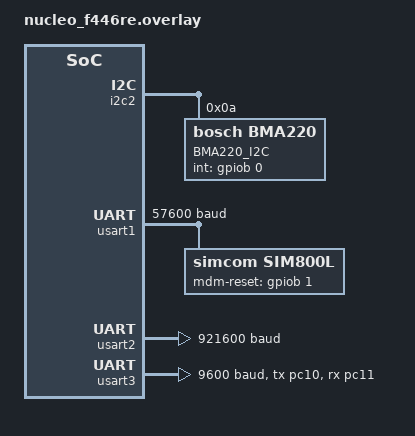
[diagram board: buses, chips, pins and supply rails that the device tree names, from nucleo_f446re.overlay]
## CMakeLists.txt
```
# SPDX-License-Identifier: Apache-2.0

list(APPEND ZEPHYR_EXTRA_MODULES
  ${CMAKE_CURRENT_SOURCE_DIR}/bma220
  ${CMAKE_CURRENT_SOURCE_DIR}/sim800l
  )

set(EXTRA_MODULES_PATHS ${ZEPHYR_EXTRA_MODULES})
list(TRANSFORM EXTRA_MODULES_PATHS APPEND "/zephyr")
list(APPEND DTS_ROOT ${EXTRA_MODULES_PATHS})

cmake_minimum_required(VERSION 3.20.0)

find_package(Zephyr REQUIRED HINTS $ENV{ZEPHYR_BASE})
project(motorcycle_alarm)

target_sources(app PRIVATE
               src/main.c
               src/motorcycle_alarm.c)
```

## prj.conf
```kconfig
CONFIG_I2C=y
CONFIG_SENSOR=y
CONFIG_BMA220=y
CONFIG_BMA220_RANGE_2G=y
CONFIG_MODEM=y
CONFIG_MODEM_SIM800L=y

CONFIG_CBPRINTF_FP_SUPPORT=y
CONFIG_LOG=y
CONFIG_LOG_DEFAULT_LEVEL=4
CONFIG_LOG_STRDUP_BUF_COUNT=32
CONFIG_LOG_STRDUP_MAX_STRING=128
CONFIG_LOG_BUFFER_SIZE=4096
CONFIG_SENSOR_LOG_LEVEL_DBG=y
CONFIG_MODEM_LOG_LEVEL_DBG=y
CONFIG_I2C_LOG_LEVEL_DBG=y
CONFIG_LOG_MAX_LEVEL=4
CONFIG_DEBUG=y
```

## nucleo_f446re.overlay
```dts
/* SPDX-License-Identifier: Apache-2.0 */

&i2c2 {
	bma220@a {
		compatible = "bosch,bma220";
		reg = <0xa>;
		label = "BMA220_I2C";
		int-gpios = <&gpiob 0 0>;
	};
};

&usart1 {
	current-speed = <57600>;
	sim800l {
		compatible = "simcom,sim800l";
		label = "SIM800L";
		mdm-reset-gpios = <&gpiob 1 0>;
	};
};

&usart2 {
	current-speed = <921600>;
};

&usart3 {
	status = "okay";
	current-speed = <9600>;
	pinctrl-0 = <&usart3_tx_pc10 &usart3_rx_pc11>;
};

/ {
     aliases {
             hc05-serial = &usart3;
     };
};
```

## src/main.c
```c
#include <zephyr.h>
#include "motorcycle_alarm.h"


void main(void)
{
    const char *user_number = "xxxxxxxxx";
    motorcycle_alarm_init(user_number);

    while (1)
    {
        k_sleep(K_MSEC(1000));
    }
}
```

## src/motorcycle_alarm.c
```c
#include <zephyr.h>
#include <device.h>
#include <devicetree.h>
#include <drivers/sensor.h>
#include <stdio.h>
#include <sim800l.h>
#include <drivers/uart.h>
#include <modem_receiver.h>

#include <logging/log.h>
LOG_MODULE_REGISTER(motorcycle_alarm, CONFIG_LOG_DEFAULT_LEVEL);

#define HC05_SERIAL                  DT_ALIAS(hc05_serial)
#define DETECTED_MOTIONS_LIMIT       20
#define HC05_BUFFER_SIZE             128

struct k_timer timer_detection;
struct k_timer timer_call;
static uint8_t detected_motions_cnt;
static const char *p_user_number;

struct alarm_work_item
{
    struct k_work work;
    bool enable;
} alarm_work;

static void detection_timer_expiry(struct k_timer *timer_id)
{
    detected_motions_cnt = 0;
}

static void call_timer_expiry(struct k_timer *timer_id)
{
    sim800l_abort_outgoing_call();
}

static void call_user(void)
{
    sim800l_check_connection();
    sim800l_start_outgoing_call(p_user_number);
    k_timer_start(&timer_call, K_SECONDS(20), K_FOREVER);
}

/*
 * Get a device structure from a devicetree node with compatible
 * "bosch,bma220". (If there are multiple, just pick one.)
 */
static const struct device *get_bma220_device(void)
{
    const struct device *dev = DEVICE_DT_GET_ANY(bosch_bma220);

    if (dev == NULL)
    {
        /* No such node, or the node does not have status "okay". */
        LOG_ERR("\nError: no device found.\n");
        return NULL;
    }

    if (!device_is_ready(dev))
    {
        LOG_ERR("\nError: Device \"%s\" is not ready; "
               "check the driver initialization logs for errors.\n",
               dev->name);
        return NULL;
    }

    return dev;
}

void bma220_measure(void)
{
    const struct device *dev = get_bma220_device();

    if (dev == NULL)
    {
        return;
    }

    struct sensor_value accel[3];

    if (sensor_sample_fetch(dev) < 0)
    {
        LOG_DBG("Error when fetching the data\n");
    }

    if (sensor_channel_get(dev, SENSOR_CHAN_ACCEL_X, &accel[0]) < 0)
    {
        LOG_DBG("Channel X get error\n");
        return;
    }

    if (sensor_channel_get(dev, SENSOR_CHAN_ACCEL_Y, &accel[1]) < 0)
    {
        LOG_DBG("Channel Y get error\n");
        return;
    }

    if (sensor_channel_get(dev, SENSOR_CHAN_ACCEL_Z, &accel[2]) < 0)
    {
        LOG_DBG("Channel Z get error\n");
        return;
    }

    LOG_INF("%d.%d,%d.%d,%d.%d,",
            accel[0].val1, accel[0].val2,
            accel[1].val1, accel[1].val2,
            accel[2].val1, accel[2].val2);
}

static void any_motion_handler(const struct device *dev, struct sensor_trigger *trigger)
{
    if (!detected_motions_cnt)
    {
        k_timer_start(&timer_detection, K_SECONDS(5), K_FOREVER);
    }

    if (detected_motions_cnt < DETECTED_MOTIONS_LIMIT)
    {
        detected_motions_cnt++;
    }
    else if (detected_motions_cnt == DETECTED_MOTIONS_LIMIT)
    {
        sim800l_check_if_call_is_ongoing();
        if (!sim800l_ongoing_call())
        {
            call_user();
        }
    }
    LOG_INF("Detection count: %d", detected_motions_cnt);
}

static void set_alarm_state(bool enable)
{
    const struct device *dev = get_bma220_device();
    struct sensor_trigger trig;

    trig.type = SENSOR_TRIG_DELTA;
    trig.chan = SENSOR_CHAN_ACCEL_XYZ;

    int rc = sensor_trigger_set(dev, &trig, enable ? any_motion_handler : NULL);
    if (rc < 0)
    {
        LOG_ERR("\nError: trigger could not be set.\n");
        return;
    }
}

static void set_alarm_state_workqueue(struct k_work *item)
{
    struct alarm_work_item *work = CONTAINER_OF(item, struct alarm_work_item, work);
    set_alarm_state(work->enable);
}

static void bma220_init(void)
{
    const struct device *dev = get_bma220_device();

    if (dev == NULL)
    {
        return;
    }

    struct sensor_value val =
    {
        .val1 = (SENSOR_G/8) / 1000000,
        .val2 = (SENSOR_G/8) % 1000000,
    };
    int rc = sensor_attr_set(dev, SENSOR_CHAN_ACCEL_XYZ, SENSOR_ATTR_SLOPE_TH, &val);
    if (rc < 0)
    {
        LOG_ERR("\nError: threshold could not be configured.\n");
        return;
    }

    val.val1 = 0x03;
    val.val2 = 0x00;
    rc = sensor_attr_set(dev, SENSOR_CHAN_ACCEL_XYZ, SENSOR_ATTR_SLOPE_DUR, &val);
    if (rc < 0)
    {
        LOG_ERR("\nError: duration could not be configured.\n");
        return;
    }

    set_alarm_state(false);
}

static void hc05_rx_isr(const struct device *dev, void *user_data)
{
    static uint8_t hc05_recv_buf[HC05_BUFFER_SIZE];
    static uint8_t index = 0;

    while (uart_irq_update(dev) && uart_irq_rx_ready(dev))
    {
        uint8_t c;
        if (uart_fifo_read(dev, &c, 1) > 0 )
        {
            if (index >= HC05_BUFFER_SIZE)
            {
                index = 0;
            }

            if (c == '\n')
            {
                hc05_recv_buf[index] = '\0';
            }
            else
            {
                hc05_recv_buf[index++] = c;
                continue;
            }

            if ( 0 == strcmp(hc05_recv_buf, "ON"))
            {
                index = 0;
                alarm_work.enable = true;
                k_work_submit(&alarm_work.work);
                LOG_INF("ON received");
            }
            else if ( 0 == strcmp(hc05_recv_buf, "OFF"))
            {
                index = 0;
                alarm_work.enable = false;
                k_work_submit(&alarm_work.work);
                LOG_INF("OFF received");
            }
            else
            {
                index = 0;
            }
        }
    }
}

static void hc05_init(void)
{
    const struct device *dev = device_get_binding(DT_LABEL(HC05_SERIAL));

    if (dev == NULL)
    {
        /* No such node, or the node does not have status "okay". */
        LOG_ERR("\nError: no device found.\n");
        return;
    }

    k_work_init(&alarm_work.work, set_alarm_state_workqueue);

    /* Setup serial */
    uart_irq_rx_disable(dev);
    uart_irq_tx_disable(dev);

    uart_irq_callback_user_data_set(dev, hc05_rx_isr, NULL);
    uart_irq_rx_enable(dev);
}

void motorcycle_alarm_init(const char *user_number)
{
    if (sim800l_init() < 0)
    {
        LOG_ERR("\nError: failed to init SIM800L modem.\n");
    }

    bma220_init();

    hc05_init();

    k_timer_init(&timer_detection, detection_timer_expiry, NULL);
    k_timer_init(&timer_call, call_timer_expiry, NULL);

    p_user_number = user_number;
}
```

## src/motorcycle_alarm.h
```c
#ifndef MOTORCYCLE_ALARM_H
#define MOTORCYCLE_ALARM_H

/**
 * @brief Function for initializing motorcycle alarm.
 *
 * @param user_number Pointer to user phone number.
*/
void motorcycle_alarm_init(const char *user_number);

/**
 * @brief Function for measuring acceleration using BMA220 sensor.
 *
 * @note  Used only for selecting the appropriate sensitivity value of the device.
 */
void bma220_measure(void);

#endif /* MOTORCYCLE_ALARM_H */
```
